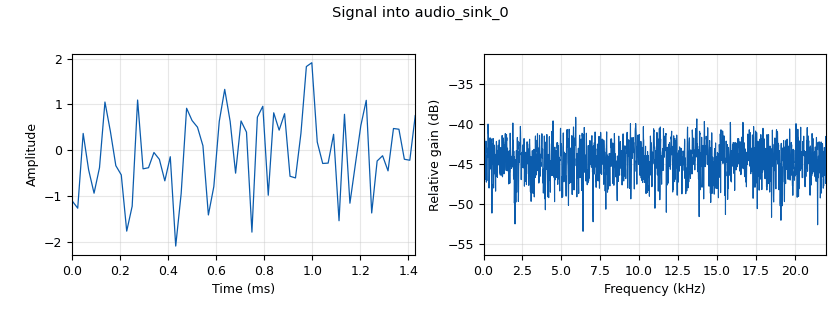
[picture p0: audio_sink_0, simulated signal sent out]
options:
  parameters:
    generate_options: qt_gui
    id: Spectrumanalyser
    output_language: python
    title: Spectrum Analyser
  states: {}

blocks:
- name: samp_rate
  id: variable
  parameters:
    value: '44100'
  states: {}
- name: analog_noise_source_x_0
  id: analog_noise_source_x
  parameters:
    amp: '1'
    noise_type: analog.GR_GAUSSIAN
    seed: '0'
    type: float
  states: {}
- name: audio_sink_0
  id: audio_sink
  parameters:
    device_name: sysdefault
    samp_rate: samp_rate
  states: {}
- name: audio_source_0
  id: audio_source
  parameters:
    device_name: sysdefault
    num_outputs: '2'
    ok_to_block: 'False'
    samp_rate: samp_rate
  states: {}
- name: qtgui_freq_sink_x_0
  id: qtgui_freq_sink_x
  parameters:
    autoscale: 'True'
    bw: samp_rate
    ctrlpanel: 'True'
    fc: '0'
    fftsize: '1024'
    freqhalf: 'False'
    grid: 'True'
    nconnections: '2'
    type: float
    wintype: firdes.WIN_BLACKMAN_hARRIS
  states: {}

connections:
- [analog_noise_source_x_0, '0', audio_sink_0, '0']
- [audio_source_0, '0', qtgui_freq_sink_x_0, '0']
- [audio_source_0, '1', qtgui_freq_sink_x_0, '1']

metadata:
  file_format: 1
